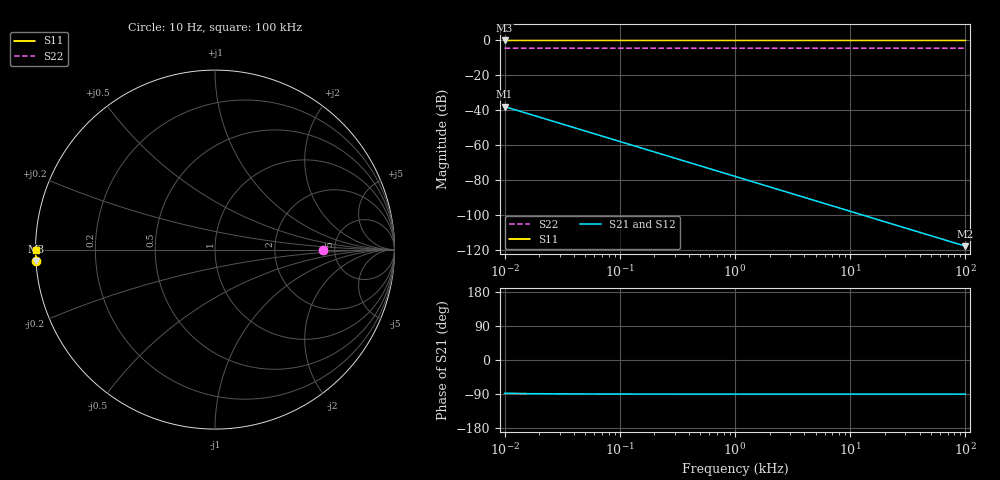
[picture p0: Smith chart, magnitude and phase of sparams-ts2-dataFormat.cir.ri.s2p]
[Version] 2.0
# Hz S RI R 50
[Number of Ports] 2
[Two-Port Data Order] 12_21
[Reference] 50 50
!  Freq  ReS11  ImS11  ReS12  ImS12  ReS21  ImS21  ReS22  ImS22
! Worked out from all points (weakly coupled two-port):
!   41 points, 10 Hz to 100 kHz, reference 50 ohm
!   highest |S21| = -37.91 dB at 10 Hz (marker M1); lowest = -117.9 dB at 100 kHz (marker M2)
!   lowest |S11| = 0.0 dB at 10 Hz (marker M3)
!   |S11| at or under -10 dB: nowhere
!   |S22| runs from -4.4 to -4.4 dB; largest |S21 - S12| = 0
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[Number of Frequencies] 22
[Network Data]
10  -0.9968 -0.0635  0.000485 -0.0127  0.000485 -0.0127  0.6001 -0.00254
12.58925  -0.9977 -0.0505  0.000306 -0.0101  0.000306 -0.0101  0.6001 -0.00202
15.84893  -0.9982 -0.0401  0.000193 -0.00803  0.000193 -0.00803  0.6 -0.00161
19.95262  -0.9986 -0.0319  0.000122 -0.00638  0.000122 -0.00638  0.6 -0.00128
25.11886  -0.9988 -0.0253  7.7e-05 -0.00507  7.7e-05 -0.00507  0.6 -0.00101
31.62278  -0.999 -0.0201  4.86e-05 -0.00402  4.86e-05 -0.00402  0.6 -0.000805
39.81072  -0.999 -0.016  3.07e-05 -0.0032  3.07e-05 -0.0032  0.6 -0.00064
50.11872  -0.9991 -0.0127  1.93e-05 -0.00254  1.93e-05 -0.00254  0.6 -0.000508
63.09573  -0.9991 -0.0101  1.22e-05 -0.00202  1.22e-05 -0.00202  0.6 -0.000404
79.43282  -0.9992 -0.00801  7.7e-06 -0.0016  7.7e-06 -0.0016  0.6 -0.000321
100  -0.9992 -0.00636  4.86e-06 -0.00127  4.86e-06 -0.00127  0.6 -0.000255
125.8925  -0.9992 -0.00505  3.07e-06 -0.00101  3.07e-06 -0.00101  0.6 -0.000202
158.4893  -0.9992 -0.00401  1.93e-06 -0.000803  1.93e-06 -0.000803  0.6 -0.000161
251.1886  -0.9992 -0.00253  7.7e-07 -0.000507  7.7e-07 -0.000507  0.6 -0.000102
316.2278  -0.9992 -0.00201  4.86e-07 -0.000402  4.86e-07 -0.000402  0.6 -8.1e-05
501.1872  -0.9992 -0.00127  1.93e-07 -0.000254  1.93e-07 -0.000254  0.6 -5.16e-05
794.3282  -0.9992 -0.000801  7.66e-08 -0.00016  7.66e-08 -0.00016  0.6 -3.33e-05
1258.925  -0.9992 -0.000505  3.03e-08 -0.000101  3.03e-08 -0.000101  0.6 -2.22e-05
1584.893  -0.9992 -0.000401  1.9e-08 -8.03e-05  1.9e-08 -8.03e-05  0.6 -1.86e-05
5011.872  -0.9992 -0.000127  1.56e-09 -2.54e-05  1.56e-09 -2.54e-05  0.6 -1.3e-05
25118.86  -0.9992 -2.53e-05  -2.97e-10 -5.07e-06  -2.97e-10 -5.07e-06  0.6 -4.09e-05
100000  -0.9992 -6.36e-06  -3.69e-10 -1.27e-06  -3.69e-10 -1.27e-06  0.6 -0.000159
[End]
